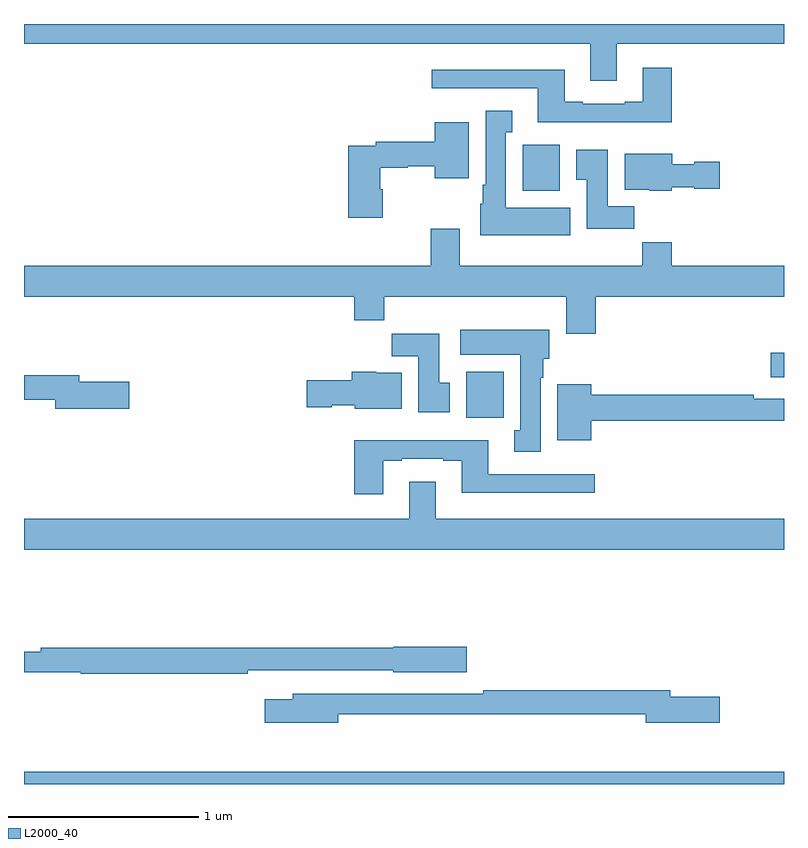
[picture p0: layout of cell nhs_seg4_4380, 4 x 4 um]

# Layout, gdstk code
import gdstk
lib = gdstk.Library(unit=1e-6, precision=1e-09)
def R(c, l, rs):  # rectangles x0, y0, x1, y1
    for r in rs: c.add(gdstk.rectangle(r[:2], r[2:], *l))
def P(c, l, *ps):  # polygons
    for p in ps: c.add(gdstk.Polygon(p, *l))
L2000_40 = (2000, 40)

nhs_seg4_4380 = lib.new_cell('nhs_seg4_4380')
R(nhs_seg4_4380, L2000_40, [(345,816.9,349,816.964), (347.327,818.828,347.524,819.07), (348.93,819.041,349,819.171), (347.624,820.022,347.821,820.264)])
P(nhs_seg4_4380, L2000_40, [(348.121,820.796),(349,820.796),(349,820.9),(345,820.9),(345,820.796),(347.981,820.796),(347.981,820.602),(348.121,820.602)],
  [(348.41,820.669),(348.257,820.669),(348.257,820.492),(348.161,820.492),(348.161,820.479),(347.941,820.479),(347.941,820.492),(347.845,820.492),(347.845,820.66),(347.145,820.66),(347.145,820.563),(347.705,820.563),(347.705,820.382),(348.41,820.382)],
  [(347.875,819.934),(347.536,819.934),(347.536,820.331),(347.569,820.331),(347.569,820.444),(347.429,820.444),(347.429,820.054),(347.414,820.054),(347.414,819.954),(347.402,819.954),(347.402,819.788),(347.875,819.788)],
  [(346.889,820.029),(346.876,820.029),(346.876,820.144),(347.019,820.144),(347.019,820.152),(347.162,820.152),(347.162,820.088),(347.341,820.088),(347.341,820.384),(347.162,820.384),(347.162,820.28),(346.852,820.28),(346.852,820.26),(346.706,820.26),(346.706,819.879),(346.889,819.879)],
  [(348.212,819.94),(348.073,819.94),(348.073,820.237),(347.906,820.237),(347.906,820.081),(347.963,820.081),(347.963,819.822),(348.212,819.822)],
  [(348.408,820.04),(348.528,820.04),(348.528,820.033),(348.661,820.033),(348.661,820.175),(348.528,820.175),(348.528,820.162),(348.412,820.162),(348.412,820.216),(348.161,820.216),(348.161,820.028),(348.294,820.028),(348.294,820.022),(348.408,820.022)],
  [(348.008,819.464),(349,819.464),(349,819.628),(348.41,819.628),(348.41,819.752),(348.253,819.752),(348.253,819.628),(347.293,819.628),(347.293,819.823),(347.141,819.823),(347.141,819.628),(345,819.628),(345,819.464),(346.739,819.464),(346.739,819.34),(346.895,819.34),(346.895,819.464),(347.855,819.464),(347.855,819.27),(348.008,819.27)],
  [(347.719,819.038),(347.734,819.038),(347.734,819.138),(347.764,819.138),(347.764,819.292),(347.295,819.292),(347.295,819.158),(347.612,819.158),(347.612,818.762),(347.579,818.762),(347.579,818.649),(347.719,818.649)],
  [(347.242,819.012),(347.185,819.012),(347.185,819.271),(346.936,819.271),(346.936,819.152),(347.075,819.152),(347.075,818.856),(347.242,818.856)],
  [(346.987,819.064),(346.854,819.064),(346.854,819.07),(346.724,819.07),(346.724,819.024),(346.488,819.024),(346.488,818.882),(346.62,818.882),(346.62,818.894),(346.74,818.894),(346.74,818.876),(346.987,818.876)],
  [(345.553,819.018),(345.292,819.018),(345.292,819.052),(345,819.052),(345,818.923),(345.164,818.923),(345.164,818.876),(345.553,818.876)],
  [(347.986,818.812),(349,818.812),(349,818.928),(348.842,818.928),(348.842,818.948),(347.986,818.948),(347.986,819.004),(347.807,819.004),(347.807,818.708),(347.986,818.708)],
  [(346.891,818.601),(346.987,818.601),(346.987,818.613),(347.207,818.613),(347.207,818.601),(347.303,818.601),(347.303,818.432),(348.004,818.432),(348.004,818.529),(347.443,818.529),(347.443,818.71),(346.739,818.71),(346.739,818.424),(346.891,818.424)],
  [(349,818.296),(347.167,818.296),(347.167,818.491),(347.027,818.491),(347.027,818.296),(345,818.296),(345,818.132),(349,818.132)],
  [(346.178,817.5),(346.944,817.5),(346.944,817.487),(347.329,817.487),(347.329,817.622),(346.944,817.622),(346.944,817.616),(345.088,817.616),(345.088,817.597),(345,817.597),(345,817.488),(345.298,817.488),(345.298,817.48),(346.178,817.48)],
  [(346.654,817.266),(348.272,817.266),(348.272,817.223),(348.661,817.223),(348.661,817.358),(348.4,817.358),(348.4,817.394),(347.416,817.394),(347.416,817.374),(346.415,817.374),(346.415,817.345),(346.266,817.345),(346.266,817.223),(346.654,817.223)])

lib.write_gds('nhs_seg4_4380.gds')
